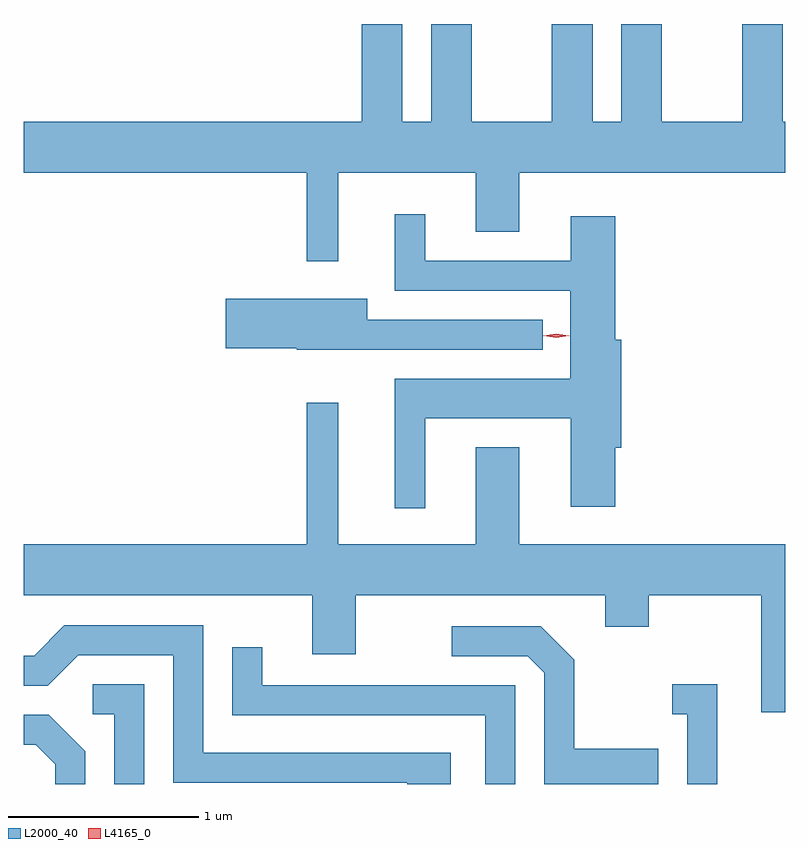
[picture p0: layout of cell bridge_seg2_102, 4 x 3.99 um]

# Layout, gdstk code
import gdstk
lib = gdstk.Library(unit=1e-6, precision=1e-09)
def P(c, l, *ps):  # polygons
    for p in ps: c.add(gdstk.Polygon(p, *l))
L2000_40 = (2000, 40)
L4165_0 = (4165, 0)

bridge_seg2_102 = lib.new_cell('bridge_seg2_102')
P(bridge_seg2_102, L2000_40, [(1277.049,1001.696),(1277.771,1001.696),(1277.771,1001.386),(1277.999,1001.386),(1277.999,1001.696),(1279.396,1001.696),(1279.396,1001.964),(1279.384,1001.964),(1279.384,1002.479),(1279.171,1002.479),(1279.171,1001.964),(1278.749,1001.964),(1278.749,1002.479),(1278.536,1002.479),(1278.536,1001.964),(1278.384,1001.964),(1278.384,1002.479),(1278.171,1002.479),(1278.171,1001.964),(1277.749,1001.964),(1277.749,1002.479),(1277.536,1002.479),(1277.536,1001.964),(1277.384,1001.964),(1277.384,1002.479),(1277.171,1002.479),(1277.171,1001.964),(1275.396,1001.964),(1275.396,1001.696),(1276.881,1001.696),(1276.881,1001.233),(1277.049,1001.233)],
  [(1277.504,1000.406),(1278.271,1000.406),(1278.271,999.941),(1278.504,999.941),(1278.504,1000.251),(1278.534,1000.251),(1278.534,1000.819),(1278.504,1000.819),(1278.504,1001.469),(1278.271,1001.469),(1278.271,1001.234),(1277.504,1001.234),(1277.504,1001.478),(1277.346,1001.478),(1277.346,1001.076),(1278.266,1001.076),(1278.266,1000.614),(1277.346,1000.614),(1277.346,999.933),(1277.504,999.933)],
  [(1278.123,1000.924),(1277.199,1000.924),(1277.199,1001.034),(1276.456,1001.034),(1276.456,1000.776),(1276.83,1000.776),(1276.83,1000.766),(1278.123,1000.766)],
  [(1276.881,999.744),(1275.396,999.744),(1275.396,999.476),(1276.911,999.476),(1276.911,999.166),(1277.139,999.166),(1277.139,999.476),(1278.451,999.476),(1278.451,999.311),(1278.679,999.311),(1278.679,999.476),(1279.271,999.476),(1279.271,998.861),(1279.396,998.861),(1279.396,999.744),(1277.999,999.744),(1277.999,1000.254),(1277.771,1000.254),(1277.771,999.744),(1277.049,999.744),(1277.049,1000.488),(1276.881,1000.488)],
  [(1277.639,998.649),(1276.339,998.649),(1276.339,999.319),(1275.609,999.319),(1275.449,999.159),(1275.396,999.159),(1275.396,999.001),(1275.522,999.001),(1275.682,999.161),(1276.181,999.161),(1276.181,998.491),(1277.411,998.491),(1277.411,998.485),(1277.639,998.485)],
  [(1278.729,998.669),(1278.289,998.669),(1278.289,999.137),(1278.112,999.314),(1277.643,999.314),(1277.643,999.156),(1278.044,999.156),(1278.131,999.069),(1278.131,998.485),(1278.729,998.485)],
  [(1277.979,999.004),(1276.649,999.004),(1276.649,999.203),(1276.491,999.203),(1276.491,998.846),(1277.821,998.846),(1277.821,998.485),(1277.979,998.485)],
  [(1279.039,999.009),(1278.803,999.009),(1278.803,998.851),(1278.881,998.851),(1278.881,998.485),(1279.039,998.485)],
  [(1276.029,999.009),(1275.758,999.009),(1275.758,998.851),(1275.871,998.851),(1275.871,998.485),(1276.029,998.485)],
  [(1275.719,998.657),(1275.527,998.849),(1275.396,998.849),(1275.396,998.691),(1275.459,998.691),(1275.561,998.589),(1275.561,998.485),(1275.719,998.485)])
P(bridge_seg2_102, L4165_0, [(1278.193,1000.831),(1278.124,1000.84),(1278.123,1000.841),(1278.124,1000.841),(1278.193,1000.851),(1278.262,1000.841),(1278.262,1000.841),(1278.262,1000.84)],
  [(1278.193,1000.831),(1278.128,1000.84),(1278.127,1000.841),(1278.128,1000.841),(1278.193,1000.851),(1278.258,1000.841),(1278.259,1000.841),(1278.258,1000.84)])

lib.write_gds('bridge_seg2_102.gds')
